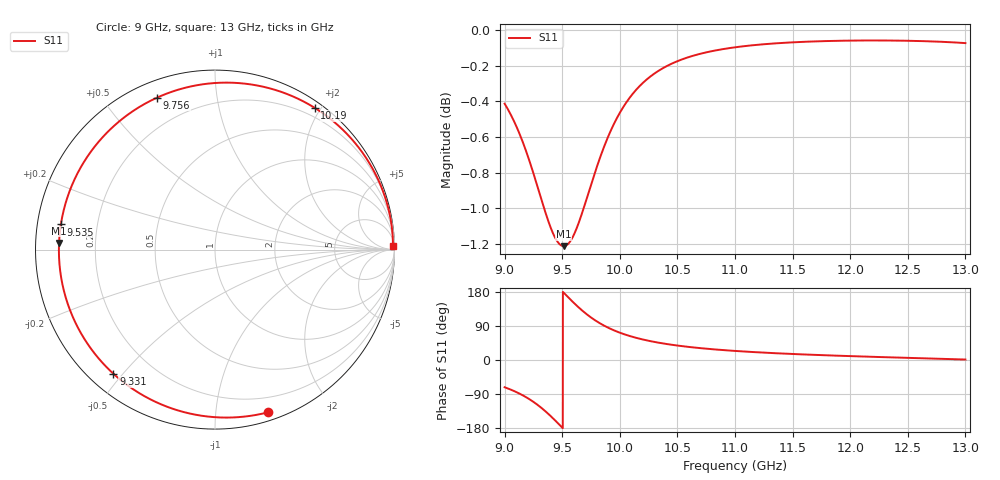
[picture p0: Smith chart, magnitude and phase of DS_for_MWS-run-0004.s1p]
! TOUCHSTONE file generated by CST DESIGN STUDIO
! Date and time: Wed Feb  5 13:43:18 2025
! Project name: C:\Work\MatlabApps\UnitCellOptimizationMatlab\CST\unitcell.cst
! Tree item: Tasks\Sweep1\SPara1\S-Parameters
! Header version: 2024
! Port assignment regex: !\s*Touchstone port\s*([0-9]+)\s*=\s*(CST MWS port|CST DES external port|CST DES block port)\s*(.+)\s* \(\"(.*)\"\)(\s*mode\s*([0-9]+))?.*
! Touchstone port assignment:
! Touchstone port 1 = CST DES external port 1 ("")
# GHz S MA R 50
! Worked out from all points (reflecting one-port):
!   4001 points, 9 GHz to 13 GHz, reference 50 ohm
!   lowest |S11| = -1.2 dB at 9.513 GHz (marker M1), VSWR 14.35, Z = 3.49 + j1.05 ohm
!   phase of S11 starts at -72 deg and turns -287 deg over the sweep
!   S11 on the Smith chart (normalised r, x): 9 GHz: 0.07, -1.38; 9.331 GHz: 0.07, -0.47; 9.535 GHz: 0.07, +0.08; 9.756 GHz: 0.07, +0.69; 10.19 GHz: 0.08, +1.93; 13 GHz: 32, +80
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9  0.9535 -71.9
9.089  0.9417 -82.8
9.192  0.9237 -99.1
9.264  0.9086 -113.5
9.331  0.8938 -129.3
9.376  0.8845 -141.2
9.423  0.8766 -154.7
9.462  0.872 -166.5
9.5  0.8699 -178.3
9.513  0.8697 177.6
9.535  0.8701 170.7
9.589  0.8746 154.2
9.65  0.8842 136.8
9.702  0.8946 123.4
9.756  0.9061 110.9
9.806  0.9165 100.8
9.862  0.9271 91.0
10  0.9479 72.1
10.091  0.9577 62.9
10.19  0.9657 54.8
10.332  0.9737 45.9
10.5  0.98 38.1
10.722  0.9851 30.6
11  0.9888 23.9
11.5  0.992 15.9
12  0.9931 10.2
12.5  0.993 5.6
13  0.9915 1.2
